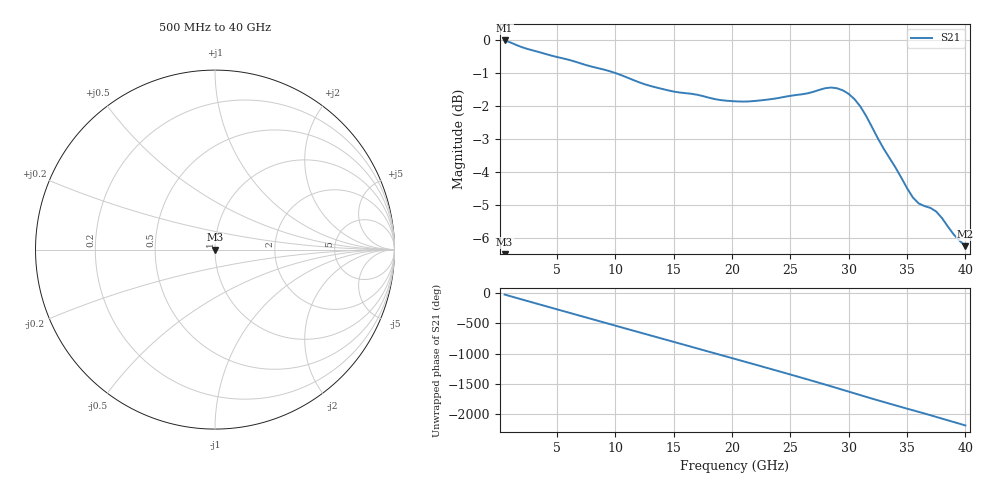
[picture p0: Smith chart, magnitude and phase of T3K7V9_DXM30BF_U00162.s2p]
!	Serial No:	U00162
!	Date:	6/1/2018
!	Model:	DXM30BF
!	Wavelength:	1560nm
#	GHZ	S	MA	R	50
!	FREQ.GHZ	S11M	S11A	S21M	S21A	S12M	S12A	S22M	S22A
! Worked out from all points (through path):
!   80 points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, 500 MHz to 40 GHz, reference 50 ohm
!   highest |S21| = -0.02 dB at 500 MHz (marker M1); lowest = -6.3 dB at 40 GHz (marker M2)
!   lowest |S11| = - dB at 500 MHz (marker M3), VSWR 1.00, Z = 50 + j0 ohm
!   |S11| at or under -10 dB: start of sweep to end of sweep
!   S12 and S22 are empty: the file has one direction only
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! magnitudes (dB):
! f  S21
! 500 MHz  0.0
! 2.5 GHz  -0.3
! 7.5 GHz  -0.8
! 9.5 GHz  -1.0
! 12.5 GHz  -1.3
! 14 GHz  -1.5
! 19 GHz  -1.8
! 20.5 GHz  -1.9
! 23.5 GHz  -1.8
! 27 GHz  -1.6
! 28.5 GHz  -1.5
! 29.5 GHz  -1.5
! 30 GHz  -1.6
! 30.5 GHz  -1.8
! 31 GHz  -2.0
! 33.5 GHz  -3.6
! 35.5 GHz  -4.8
! 36 GHz  -5.0
! 37.5 GHz  -5.2
! 38 GHz  -5.4
! 39 GHz  -5.9
! 40 GHz  -6.3
